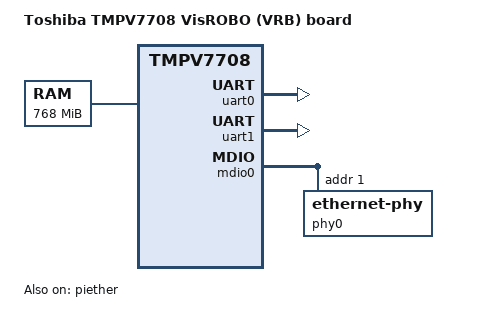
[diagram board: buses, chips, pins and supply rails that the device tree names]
// SPDX-License-Identifier: (GPL-2.0+ OR MIT)
/*
 * Device Tree File for TMPV7708 VisROBO VRB board
 *
 * (C) Copyright 2020, 2021, Toshiba Corporation.
 * (C) Copyright 2020, Nobuhiro Iwamatsu <nobuhiro1.iwamatsu@toshiba.co.jp>
 */

/dts-v1/;

#include "tmpv7708-visrobo-vrc.dtsi"

/ {
	model = "Toshiba TMPV7708 VisROBO (VRB) board";
	compatible = "toshiba,tmpv7708-visrobo-vrb", "toshiba,tmpv7708";

	aliases {
		serial0 = &uart0;
		serial1 = &uart1;
	};

	chosen {
		stdout-path = "serial0:115200n8";
	};

	/* 768MB memory */
	memory@80000000 {
		device_type = "memory";
		reg = <0x0 0x80000000 0x0 0x30000000>;
	};
};

&uart0 {
	status = "okay";
};

&uart1 {
	status = "okay";
};

&piether {
	status = "okay";
	phy-handle = <&phy0>;
	phy-mode = "rgmii-id";

	mdio0 {
		#address-cells = <1>;
		#size-cells = <0>;
		compatible = "snps,dwmac-mdio";
		phy0: ethernet-phy@1 {
			device_type = "ethernet-phy";
			reg = <0x1>;
		};
	};
};
